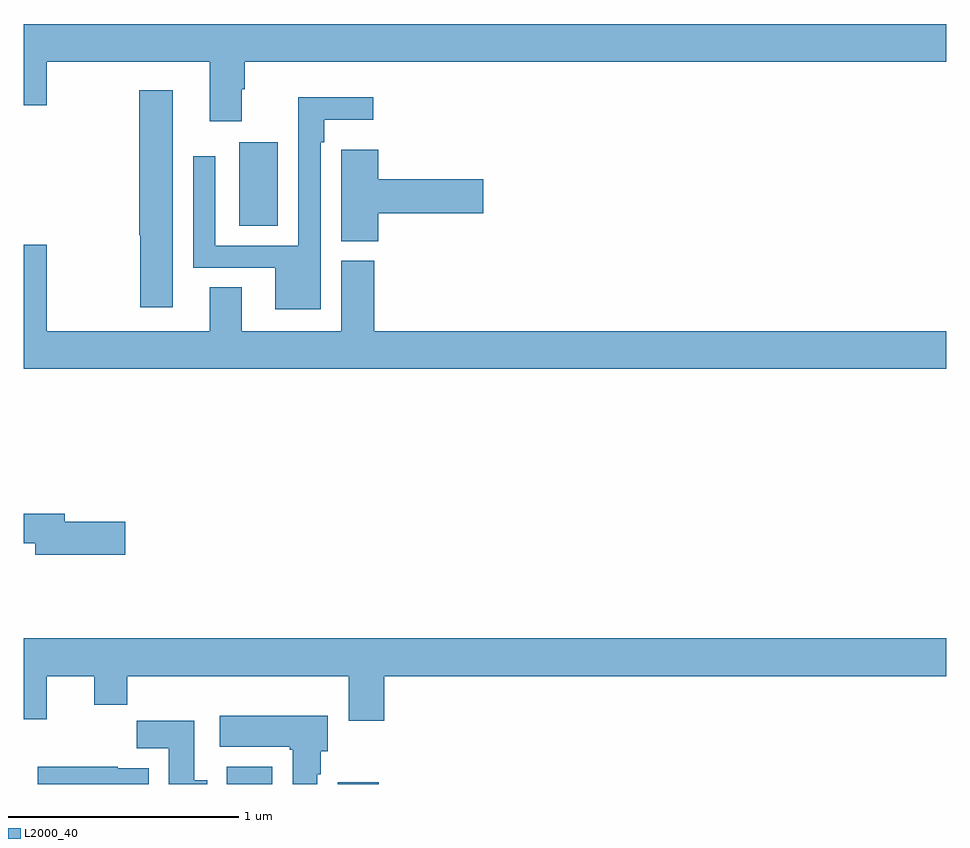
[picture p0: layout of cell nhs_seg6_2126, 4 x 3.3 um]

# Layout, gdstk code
import gdstk
lib = gdstk.Library(unit=1e-6, precision=1e-09)
def R(c, l, rs):  # rectangles x0, y0, x1, y1
    for r in rs: c.add(gdstk.rectangle(r[:2], r[2:], *l))
def P(c, l, *ps):  # polygons
    for p in ps: c.add(gdstk.Polygon(p, *l))
L2000_40 = (2000, 40)

nhs_seg6_2126 = lib.new_cell('nhs_seg6_2126')
R(nhs_seg6_2126, L2000_40, [(237.881,981.5,238.078,981.574), (238.361,981.5,238.54,981.508), (237.935,983.92,238.102,984.283)])
P(nhs_seg6_2126, L2000_40, [(237.946,984.512),(237.959,984.512),(237.959,984.632),(241,984.632),(241,984.796),(237,984.796),(237,984.444),(237.1,984.444),(237.1,984.632),(237.806,984.632),(237.806,984.375),(237.946,984.375)],
  [(237.646,984.508),(237.5,984.508),(237.5,983.88),(237.505,983.88),(237.505,983.568),(237.646,983.568)],
  [(238.287,984.284),(238.303,984.284),(238.303,984.38),(238.516,984.38),(238.516,984.478),(238.191,984.478),(238.191,983.835),(237.831,983.835),(237.831,984.223),(237.735,984.223),(237.735,983.739),(238.091,983.739),(238.091,983.558),(238.287,983.558)],
  [(238.538,983.975),(238.993,983.975),(238.993,984.122),(238.538,984.122),(238.538,984.25),(238.377,984.25),(238.377,984.137),(238.376,984.137),(238.376,983.854),(238.538,983.854)],
  [(241,983.464),(238.52,983.464),(238.52,983.769),(238.376,983.769),(238.376,983.464),(237.946,983.464),(237.946,983.654),(237.806,983.654),(237.806,983.464),(237.1,983.464),(237.1,983.839),(237,983.839),(237,983.3),(241,983.3)],
  [(237.439,982.637),(237.178,982.637),(237.178,982.673),(237,982.673),(237,982.545),(237.05,982.545),(237.05,982.495),(237.439,982.495)],
  [(238.562,981.968),(241,981.968),(241,982.132),(237,982.132),(237,981.78),(237.1,981.78),(237.1,981.968),(237.305,981.968),(237.305,981.844),(237.449,981.844),(237.449,981.968),(238.409,981.968),(238.409,981.774),(238.562,981.774)],
  [(238.273,981.542),(238.288,981.542),(238.288,981.642),(238.318,981.642),(238.318,981.796),(237.849,981.796),(237.849,981.662),(238.153,981.662),(238.153,981.649),(238.166,981.649),(238.166,981.5),(238.273,981.5)],
  [(237.796,981.516),(237.739,981.516),(237.739,981.775),(237.49,981.775),(237.49,981.656),(237.629,981.656),(237.629,981.5),(237.796,981.5)],
  [(237.541,981.568),(237.408,981.568),(237.408,981.574),(237.06,981.574),(237.06,981.5),(237.541,981.5)])

lib.write_gds('nhs_seg6_2126.gds')
